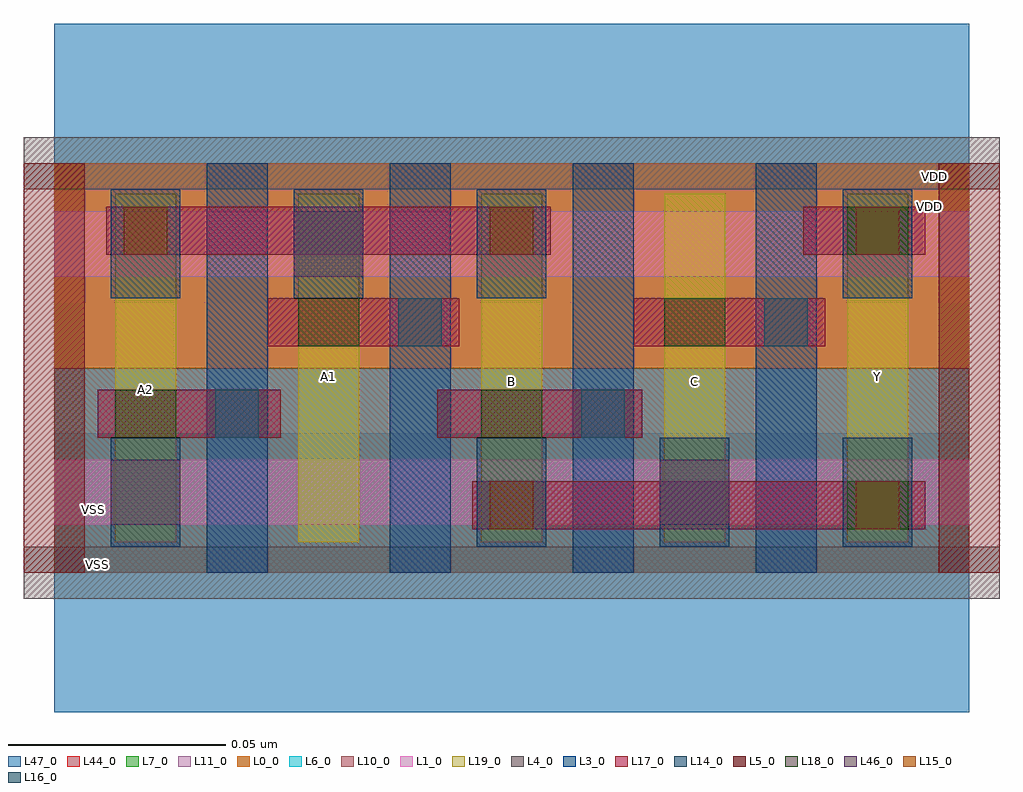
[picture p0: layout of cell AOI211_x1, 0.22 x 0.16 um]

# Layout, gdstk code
import gdstk
lib = gdstk.Library(unit=1e-6, precision=5e-10)
def R(c, l, rs):  # rectangles x0, y0, x1, y1
    for r in rs: c.add(gdstk.rectangle(r[:2], r[2:], *l))
def A(c, l, x, y, w, h, nx, ny, dx, dy):  # array of equal rectangles
    R(c, l, [(x+i*dx, y+j*dy, x+i*dx+w, y+j*dy+h) for i in range(nx) for j in range(ny)])
L0_0 = (0, 0)
L1_0 = (1, 0)
L3_0 = (3, 0)
L4_0 = (4, 0)
L5_0 = (5, 0)
L6_0 = (6, 0)
L7_0 = (7, 0)
L10_0 = (10, 0)
L11_0 = (11, 0)
L14_0 = (14, 0)
L15_0 = (15, 0)
L16_0 = (16, 0)
L17_0 = (17, 0)
L18_0 = (18, 0)
L19_0 = (19, 0)
L44_0 = (44, 0)
L46_0 = (46, 0)
L47_0 = (47, 0)

aoi211_x1 = lib.new_cell('AOI211_x1')
R(aoi211_x1, L0_0, [(0,0.047,0.21,0.094)])
R(aoi211_x1, L1_0, [(0,0.011,0.21,0.026), (0,0.068,0.21,0.083)])
A(aoi211_x1, L3_0, 0.035, 0, 0.014, 0.094, 4, 1, 0.042, 0)
R(aoi211_x1, L4_0, [(-0.007,-0.006,0.217,0.006), (-0.007,0.088,0.217,0.1)])
R(aoi211_x1, L5_0, [(-0.007,0,0.007,0.094), (0.203,0,0.217,0.094)])
R(aoi211_x1, L6_0, [(0,0,0.21,0.047)])
R(aoi211_x1, L7_0, [(0,0.047,0.21,0.094)])
R(aoi211_x1, L10_0, [(0,0,0.21,0.047)])
R(aoi211_x1, L11_0, [(0,0.047,0.21,0.094)])
A(aoi211_x1, L14_0, 0.097, 0.006, 0.016, 0.025, 3, 1, 0.042, 0)
A(aoi211_x1, L14_0, 0.013, 0.063, 0.016, 0.025, 3, 1, 0.042, 0)
R(aoi211_x1, L14_0, [(0.013,0.006,0.029,0.031), (0.181,0.063,0.197,0.088)])
A(aoi211_x1, L15_0, 0.016, 0.073, 0.01, 0.011, 3, 1, 0.084, 0)
R(aoi211_x1, L15_0, [(0.1,0.01,0.11,0.021), (0.184,0.01,0.194,0.021)])
R(aoi211_x1, L16_0, [(0.037,0.031,0.047,0.042), (0.121,0.031,0.131,0.042), (0.079,0.052,0.089,0.063), (0.163,0.052,0.173,0.063)])
R(aoi211_x1, L17_0, [(0.096,0.01,0.2,0.021), (0.01,0.031,0.052,0.042), (0.088,0.031,0.135,0.042), (0.049,0.052,0.093,0.063), (0.133,0.052,0.177,0.063), (0.012,0.073,0.114,0.084), (0.172,0.073,0.2,0.084)])
R(aoi211_x1, L18_0, [(0.182,0.01,0.196,0.021), (0.014,0.031,0.028,0.042), (0.098,0.031,0.112,0.042), (0.056,0.052,0.07,0.063), (0.14,0.052,0.154,0.063), (0.182,0.073,0.196,0.084)])
A(aoi211_x1, L19_0, 0.014, 0.007, 0.014, 0.08, 5, 1, 0.042, 0)
R(aoi211_x1, L44_0, [(0,0,0.21,0.094)])
R(aoi211_x1, L46_0, [(0.013,0.011,0.029,0.026), (0.139,0.011,0.155,0.026), (0.055,0.068,0.071,0.083)])
R(aoi211_x1, L47_0, [(0,-0.032,0.21,0.032), (0,0.062,0.21,0.126)])
aoi211_x1.add(gdstk.Label('VDD', (0.202,0.091), layer=0, texttype=2))
aoi211_x1.add(gdstk.Label('A2', (0.021,0.042), layer=19, texttype=2))
aoi211_x1.add(gdstk.Label('B', (0.105,0.044), layer=19, texttype=2))
aoi211_x1.add(gdstk.Label('C', (0.147,0.044), layer=19, texttype=2))
aoi211_x1.add(gdstk.Label('A1', (0.063,0.045), layer=19, texttype=2))
aoi211_x1.add(gdstk.Label('Y', (0.189,0.045), layer=19, texttype=2))
aoi211_x1.add(gdstk.Label('VDD', (0.201,0.084), layer=47, texttype=2))
aoi211_x1.add(gdstk.Label('VSS', (0.009,0.0145), layer=47, texttype=2))
aoi211_x1.add(gdstk.Label('VSS', (0.01,0.002), layer=54, texttype=2))

lib.write_gds('AOI211_x1.gds')
